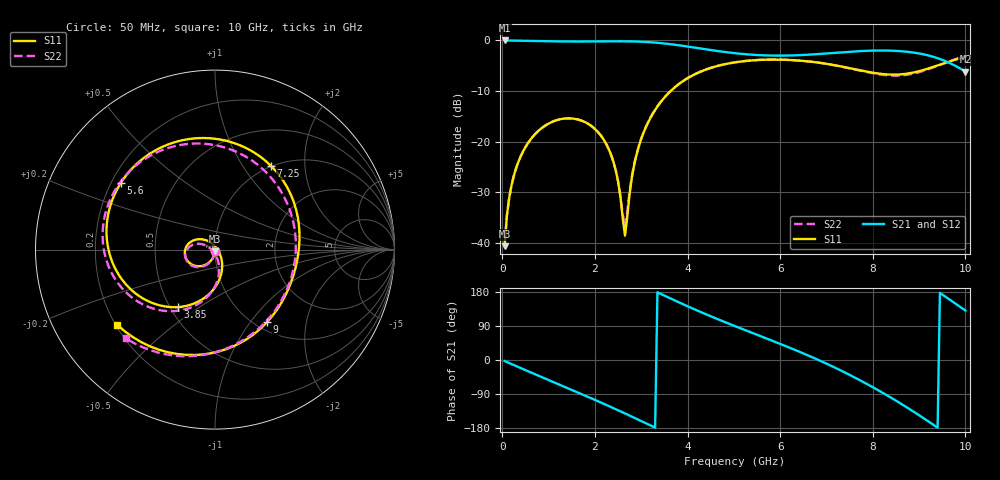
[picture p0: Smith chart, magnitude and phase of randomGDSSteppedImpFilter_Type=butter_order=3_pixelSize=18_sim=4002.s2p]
! freq	dB(S11)	phase(S11)	dB(S12)	phase(S12)
!  dB(S21)	phase(S21)	dB(S22)	phase(S22)
!S-par simulation data
#  GHz  S  DB  R 50
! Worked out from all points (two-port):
!   200 points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, 50 MHz to 10 GHz, reference 50 ohm
!   highest |S21| = 0.00 dB at 50 MHz (marker M1); lowest = -6.2 dB at 10 GHz (marker M2)
!   |S21| within 3 dB of the highest: start of sweep to 9.216 GHz
!   lowest |S11| = -40.6 dB at 50 MHz (marker M3), VSWR 1.02, Z = 50 - j0.929 ohm
!   |S11| at or under -10 dB: start of sweep to 3.635 GHz
!   |S22| runs from -40.4 to -3.1 dB; largest |S21 - S12| = 0
!   S11 on the Smith chart (normalised r, x): 50 MHz: 1.00, -0.02; 3.85 GHz: 0.55, -0.41; 5.6 GHz: 0.24, +0.30; 7.25 GHz: 0.99, +1.35; 9 GHz: 1.13, -1.21; 10 GHz: 0.21, -0.33
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0.05  -40.63 -91.6  -0.00 -2.7  -0.00 -2.7  -40.43 -91.5
0.1  -34.53 -95.0  -0.01 -5.4  -0.01 -5.4  -34.50 -94.7
0.2  -28.58 -101.3  -0.02 -10.8  -0.02 -10.8  -28.58 -100.5
0.55  -20.33 -120.9  -0.08 -29.3  -0.08 -29.3  -20.33 -118.9
1.15  -15.82 -153.8  -0.19 -60.8  -0.19 -60.8  -15.82 -149.1
1.75  -15.98 173.0  -0.21 -92.0  -0.21 -92.0  -15.98 -178.3
2.35  -22.62 134.6  -0.17 -124.2  -0.17 -124.2  -22.62 157.0
2.5  -27.86 118.3  -0.16 -132.6  -0.16 -132.6  -27.79 158.5
2.65  -38.55 35.2  -0.17 -141.0  -0.17 -141.0  -36.71 -136.9
2.9  -22.52 -59.4  -0.22 -155.3  -0.22 -155.3  -22.37 -75.1
3.4  -12.42 -95.5  -0.51 175.7  -0.51 175.7  -12.37 -95.3
3.85  -8.37 -122.9  -1.00 150.1  -1.00 150.1  -8.34 -118.4
4.4  -5.74 -154.0  -1.76 120.6  -1.76 120.6  -5.72 -145.9
5.05  -4.30 172.2  -2.55 88.2  -2.55 88.2  -4.27 -176.0
5.6  -3.83 144.6  -2.93 61.9  -2.93 61.9  -3.82 159.5
6.7  -4.24 87.3  -2.77 6.9  -2.77 6.9  -4.24 108.3
7.25  -5.02 56.2  -2.40 -24.1  -2.40 -24.1  -5.04 78.6
7.9  -6.21 17.6  -2.04 -65.0  -2.04 -65.0  -6.30 37.3
8.35  -6.73 -9.8  -2.01 -96.3  -2.01 -96.3  -6.91 3.5
9  -6.07 -54.2  -2.57 -145.7  -2.57 -145.7  -6.27 -51.5
9.55  -4.48 -100.6  -4.02 168.6  -4.02 168.6  -4.48 -98.8
10  -3.26 -142.3  -6.16 130.6  -6.16 130.6  -3.09 -135.1
